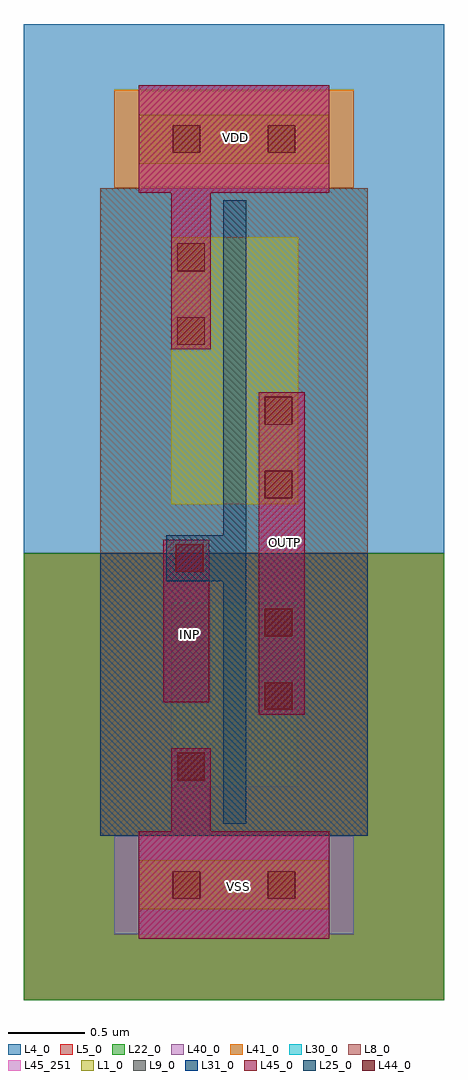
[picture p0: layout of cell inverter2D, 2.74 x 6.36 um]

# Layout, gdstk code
import gdstk
lib = gdstk.Library(unit=1e-6, precision=1e-09)
def R(c, l, rs):  # rectangles x0, y0, x1, y1
    for r in rs: c.add(gdstk.rectangle(r[:2], r[2:], *l))
def P(c, l, *ps):  # polygons
    for p in ps: c.add(gdstk.Polygon(p, *l))
L1_0 = (1, 0)
L4_0 = (4, 0)
L5_0 = (5, 0)
L8_0 = (8, 0)
L9_0 = (9, 0)
L22_0 = (22, 0)
L25_0 = (25, 0)
L30_0 = (30, 0)
L31_0 = (31, 0)
L40_0 = (40, 0)
L41_0 = (41, 0)
L44_0 = (44, 0)
L45_0 = (45, 0)
L45_251 = (45, 251)

inverter2d = lib.new_cell('inverter2D')
R(inverter2d, L1_0, [(2.5,0.69,3.74,1.01), (2.71,1.49,3.54,2.69), (2.71,3.33,3.54,5.07), (2.5,5.55,3.74,5.87)])
R(inverter2d, L4_0, [(1.75,3.01,4.49,6.46)])
R(inverter2d, L5_0, [(1.75,0.1,4.49,3.01)])
R(inverter2d, L8_0, [(2.25,3.01,3.99,5.39)])
R(inverter2d, L9_0, [(2.25,1.17,3.99,3.01)])
R(inverter2d, L22_0, [(1.75,0.1,4.49,3.01)])
P(inverter2d, L25_0, [(2.68,2.83),(3.05,2.83),(3.05,1.25),(3.2,1.25),(3.2,5.31),(3.05,5.31),(3.05,3.13),(2.68,3.13)])
R(inverter2d, L30_0, [(2.25,3.01,3.99,5.39)])
R(inverter2d, L31_0, [(2.25,1.17,3.99,3.01)])
R(inverter2d, L40_0, [(2.34,0.53,3.9,1.17), (2.25,3.01,3.99,5.39)])
R(inverter2d, L41_0, [(2.25,1.17,3.99,3.01), (2.34,5.39,3.9,6.03)])
R(inverter2d, L44_0, [(2.72,0.76,2.9,0.94), (3.34,0.76,3.52,0.94), (2.75,1.53,2.93,1.71), (3.32,1.99,3.5,2.17), (3.32,2.47,3.5,2.65), (2.74,2.89,2.92,3.07), (3.32,3.37,3.5,3.55), (3.32,3.85,3.5,4.03), (2.75,4.37,2.93,4.55), (2.75,4.85,2.93,5.03), (2.72,5.62,2.9,5.8), (3.34,5.62,3.52,5.8)])
R(inverter2d, L45_0, [(3.28,1.96,3.58,4.06), (2.66,2.04,2.96,3.1)])
P(inverter2d, L45_0, [(2.5,0.5),(3.74,0.5),(3.74,1.2),(2.97,1.2),(2.97,1.74),(2.71,1.74),(2.71,1.2),(2.5,1.2)],
  [(2.5,5.36),(2.71,5.36),(2.71,4.34),(2.97,4.34),(2.97,5.36),(3.74,5.36),(3.74,6.06),(2.5,6.06)])
R(inverter2d, L45_251, [(3.03,0.72,3.27,0.96), (3.28,1.96,3.58,4.06), (2.66,2.04,2.96,3.1), (2.71,2.36,2.95,2.6), (3.33,2.96,3.57,3.2), (3.01,5.6,3.25,5.84)])
P(inverter2d, L45_251, [(2.5,0.5),(3.74,0.5),(3.74,1.2),(2.97,1.2),(2.97,1.74),(2.71,1.74),(2.71,1.2),(2.5,1.2)],
  [(2.5,5.36),(2.71,5.36),(2.71,4.34),(2.97,4.34),(2.97,5.36),(3.74,5.36),(3.74,6.06),(2.5,6.06)])
inverter2d.add(gdstk.Label('VSS', (3.15,0.84), layer=45, texttype=251))
inverter2d.add(gdstk.Label('VDD', (3.13,5.72), layer=45, texttype=251))
inverter2d.add(gdstk.Label('OUTP', (3.45,3.08), layer=45, texttype=251))
inverter2d.add(gdstk.Label('INP', (2.83,2.48), layer=45, texttype=251))

lib.write_gds('inverter2D.gds')
